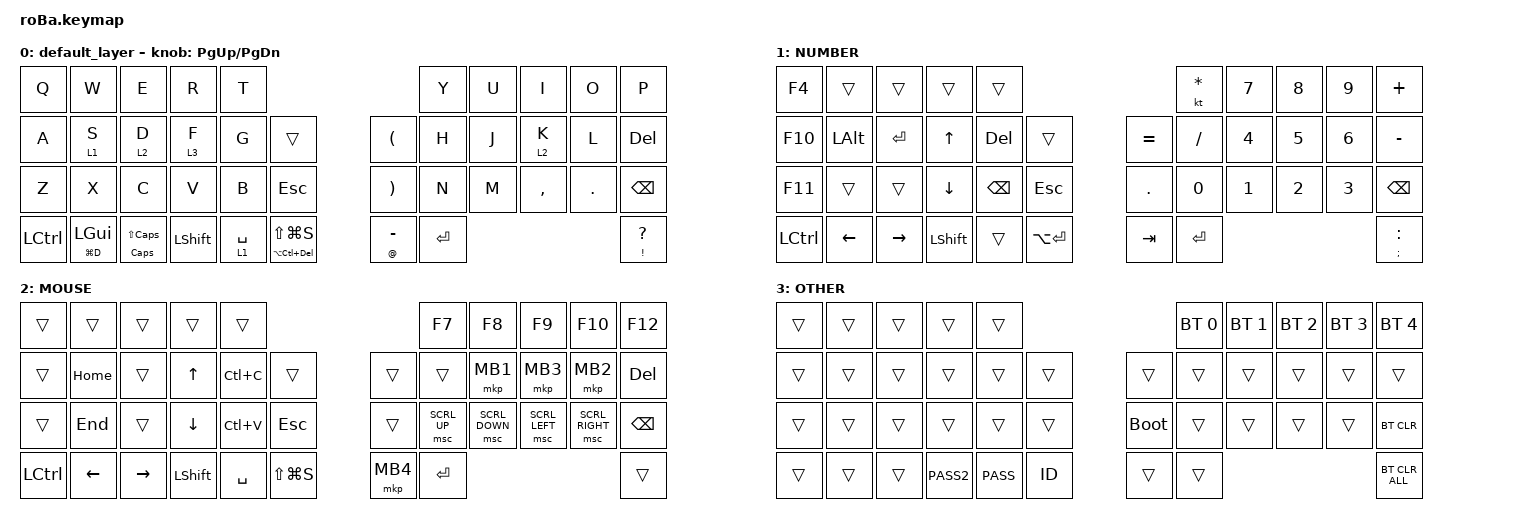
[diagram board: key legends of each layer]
#include <behaviors.dtsi>
#include <dt-bindings/zmk/bt.h>
#include <dt-bindings/zmk/keys.h>
#include <dt-bindings/zmk/pointing.h>

#define MOUSE 4
#define SCROLL 5
#define NUM 6

/ {
    combos { compatible = "zmk,combos"; };

    macros {
        PASS: PASS {
            compatible = "zmk,behavior-macro";
            #binding-cells = <0>;
            bindings = <&kp LS(T) &kp Y &kp N8 &kp N9 &kp N2 &kp N2 &kp N8 &kp N0>;
            label = "PASS";
        };

        ID: ID {
            compatible = "zmk,behavior-macro";
            #binding-cells = <0>;
            bindings = <&kp LS(Z) &kp NUMBER_2 &kp NUMBER_6 &kp NUMBER_1 &kp NUMBER_7 &kp NUMBER_5 &kp NUMBER_7>;
            label = "ID";
        };

        PASS2: terace {
            compatible = "zmk,behavior-macro";
            #binding-cells = <0>;
            bindings = <&kp LS(R) &kp D &kp NUMBER_8 &kp NUMBER_9 &kp NUMBER_2 &kp NUMBER_2 &kp NUMBER_8 &kp NUMBER_0>;
            label = "TERACE";
        };
    };

    keymap {
        compatible = "zmk,keymap";

        default_layer {
            bindings = <
&kp Q      &kp W               &kp E              &kp R           &kp T                                                                 &kp Y      &kp U  &kp I      &kp O    &kp P
&kp A      &lt 1 S             &lt 2 D            &lt 3 F         &kp G        &trans                            &kp LEFT_PARENTHESIS   &kp H      &kp J  &lt 2 K    &kp L    &kp DELETE
&kp Z      &kp X               &kp C              &kp V           &kp B        &kp ESCAPE                        &kp RIGHT_PARENTHESIS  &kp N      &kp M  &kp COMMA  &kp DOT  &kp BACKSPACE
&kp LCTRL  &mt LG(D) LEFT_GUI  &mt CAPS LS(CAPS)  &kp LEFT_SHIFT  &lt 1 SPACE  &mt LA(LC(DELETE)) LS(LG(S))      &mt AT_SIGN MINUS      &kp ENTER                             &mt EXCLAMATION QUESTION
            >;

            sensor-bindings = <&inc_dec_kp PG_UP PAGE_DOWN>;
        };

        NUMBER {
            bindings = <
&kp F4     &trans        &trans     &trans          &trans                                     &kt ASTERISK  &kp N7  &kp N8  &kp N9  &kp PLUS
&kp F10    &kp LEFT_ALT  &kp ENTER  &kp UP_ARROW    &kp DEL        &trans           &kp EQUAL  &kp FSLH      &kp N4  &kp N5  &kp N6  &kp MINUS
&kp F11    &trans        &trans     &kp DOWN_ARROW  &kp BACKSPACE  &kp ESCAPE       &kp DOT    &kp N0        &kp N1  &kp N2  &kp N3  &kp BSPC
&kp LCTRL  &kp LEFT      &kp RIGHT  &kp LSHFT       &trans         &kp LA(RET)      &kp TAB    &kp RET                               &mt SEMI COLON
            >;
        };

        MOUSE {
            bindings = <
&trans     &trans    &trans     &trans          &trans                                  &kp F7        &kp F8          &kp F9          &kp F10          &kp F12
&trans     &kp HOME  &trans     &kp UP          &kp LC(C)  &trans             &trans    &trans        &mkp MB1        &mkp MB3        &mkp MB2         &kp DELETE
&trans     &kp END   &trans     &kp DOWN        &kp LC(V)  &kp ESC            &trans    &msc SCRL_UP  &msc SCRL_DOWN  &msc SCRL_LEFT  &msc SCRL_RIGHT  &kp BACKSPACE
&kp LCTRL  &kp LEFT  &kp RIGHT  &kp LEFT_SHIFT  &kp SPACE  &kp LS(LG(S))      &mkp MB4  &kp ENTER                                                      &trans
            >;
        };

        OTHER {
            bindings = <
&trans  &trans  &trans  &trans  &trans                           &bt BT_SEL 0  &bt BT_SEL 1  &bt BT_SEL 2  &bt BT_SEL 3  &bt BT_SEL 4
&trans  &trans  &trans  &trans  &trans  &trans      &trans       &trans        &trans        &trans        &trans        &trans
&trans  &trans  &trans  &trans  &trans  &trans      &bootloader  &trans        &trans        &trans        &trans        &bt BT_CLR
&trans  &trans  &trans  &PASS2  &PASS   &ID         &trans       &trans                                                  &bt BT_CLR_ALL
            >;
        };
    };
};
